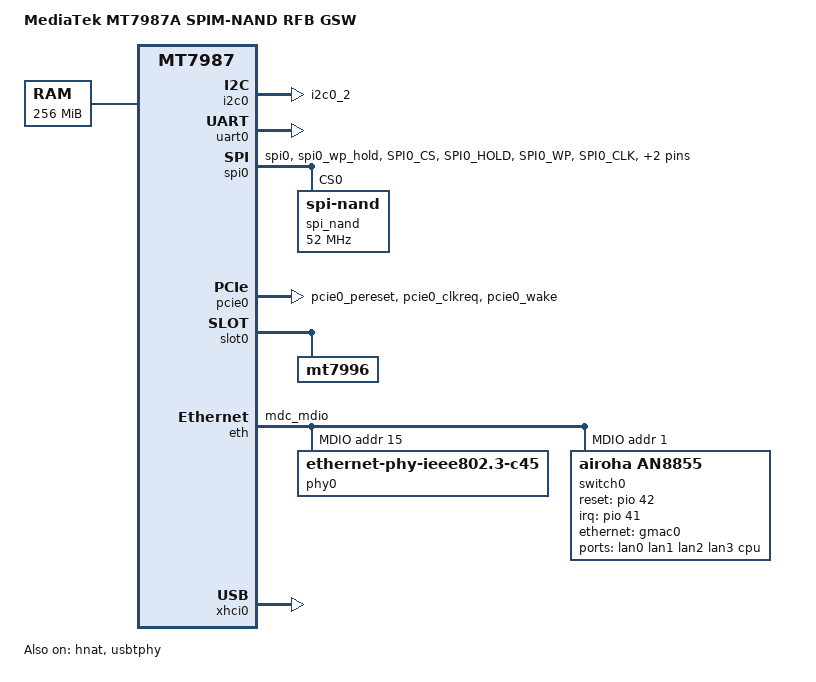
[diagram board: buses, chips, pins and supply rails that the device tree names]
// SPDX-License-Identifier: (GPL-2.0 OR MIT)
/*
 * Copyright (C) 2024 MediaTek Inc.
 * Author: Sam.Shih <sam.shih@mediatek.com>
 */

/dts-v1/;

#include <dt-bindings/gpio/gpio.h>
#include <dt-bindings/pinctrl/mt65xx.h>
#include "mt7987a.dtsi"

/ {
	model = "MediaTek MT7987A SPIM-NAND RFB GSW";
	compatible = "mediatek,mt7987a-spim-snand-gsw",
		     "mediatek,mt7987a", "mediatek,mt7987";

	chosen {
		bootargs = "console=ttyS0,115200n1 loglevel=8 earlycon=uart8250,mmio32,0x11000000 pci=pcie_bus_perf";
	};

	memory {
		reg = <0 0x40000000 0 0x10000000>;
	};

	nmbm_spim_nand {
		compatible = "generic,nmbm";

		#address-cells = <1>;
		#size-cells = <1>;

		lower-mtd-device = <&spi_nand>;
		forced-create;

		partitions {
			compatible = "fixed-partitions";
			#address-cells = <1>;
			#size-cells = <1>;

			partition@0 {
				label = "BL2";
				reg = <0x00000 0x0100000>;
				read-only;
			};

			partition@100000 {
				label = "u-boot-env";
				reg = <0x0100000 0x0080000>;
			};

			factory: partition@180000 {
				label = "Factory";
				reg = <0x180000 0x0400000>;
			};

			partition@580000 {
				label = "FIP";
				reg = <0x580000 0x0200000>;
			};

			partition@780000 {
				label = "ubi";
				reg = <0x780000 0x7080000>;
			};
		};
	};
};

&i2c0 {
	pinctrl-names = "default";
	pinctrl-0 = <&i2c0_pins>;
	status = "okay";
};

&uart0 {
	status = "okay";
};

&spi0 {
	pinctrl-names = "default";
	pinctrl-0 = <&spi0_flash_pins>;
	status = "okay";

	spi_nand: spi_nand@0 {
		#address-cells = <1>;
		#size-cells = <1>;
		compatible = "spi-nand";
		spi-cal-enable;
		spi-cal-mode = "read-data";
		spi-cal-datalen = <7>;
		spi-cal-data = /bits/ 8 <0x53 0x50 0x49 0x4E 0x41 0x4E 0x44>;
		spi-cal-addrlen = <5>;
		spi-cal-addr = /bits/ 32 <0x0 0x0 0x0 0x0 0x0>;
		reg = <0>;
		spi-max-frequency = <52000000>;
		spi-tx-bus-width = <4>;
		spi-rx-bus-width = <4>;
	};
};

&pcie0 {
	pinctrl-names = "default";
	pinctrl-0 = <&pcie0_pins>;
	status = "okay";
};

&slot0 {
	/* slot0 is used for MT76 only */
	mt7996@0,0 {
		device_type = "pci";
		mediatek,mtd-eeprom = <&factory 0x0>;
	};
};

&eth {
	pinctrl-names = "default";
	pinctrl-0 = <&mdio0_pins>;
	status = "okay";

	gmac0: mac@0 {
		compatible = "mediatek,eth-mac";
		reg = <0>;
		mac-type = "gdm";
		phy-mode = "2500base-x";

		fixed-link {
			speed = <2500>;
			full-duplex;
			pause;
		};
	};

	gmac1: mac@1 {
		compatible = "mediatek,eth-mac";
		reg = <1>;
		mac-type = "xgdm";
		phy-mode = "internal";
		phy-handle = <&phy0>;
	};

	mdio: mdio-bus {
		#address-cells = <1>;
		#size-cells = <0>;
		reset-gpios = <&pio 48 1>;
		reset-delay-us = <10000>;

		phy0: phy@0 {
			pinctrl-names = "i2p5gbe-led";
			pinctrl-0 = <&i2p5gbe_led0_pins>;
			compatible = "ethernet-phy-ieee802.3-c45";
			reg = <15>;
			phy-mode = "internal";
		};

		switch0: switch@0 {
			compatible = "airoha,an8855";
			reg = <1>;
			airoha,intr = <6>;
			airoha,extSurge = <1>;
			reset-gpios = <&pio 42 0>;
			interrupt-parent = <&pio>;
			interrupts = <41 IRQ_TYPE_LEVEL_HIGH>;

			ports {
				#address-cells = <1>;
				#size-cells = <0>;

				port@0 {
					reg = <0>;
					label = "lan0";
				};

				port@1 {
					reg = <1>;
					label = "lan1";
				};

				port@2 {
					reg = <2>;
					label = "lan2";
				};

				port@3 {
					reg = <3>;
					label = "lan3";
				};

				port@5 {
					reg = <5>;
					label = "cpu";
					ethernet = <&gmac0>;
					phy-mode = "2500base-x";

					fixed-link {
						speed = <2500>;
						full-duplex;
						pause;
					};
				};
			};
		};
	};
};

&hnat {
	mtketh-wan = "eth1";
	mtketh-lan = "eth0";
	mtketh-max-gmac = <2>;
	mtketh-ppe-num = <1>;
	status = "okay";
};

&usbtphy {
	status = "okay";
};

&xhci0 {
	status = "okay";
};

&pio {
	mmc_pins_default: mmc-pins-default {
		mux {
			function = "flash";
			groups = "emmc_45";
		};
		conf-cmd-dat {
			pins = "SPI0_CLK", "SPI0_MOSI", "SPI0_MISO",
			       "SPI0_CS", "SPI0_HOLD", "SPI0_WP",
			       "SPI1_CLK", "SPI1_MOSI", "SPI1_MISO";
			input-enable;
			drive-strength = <MTK_DRIVE_4mA>;
			mediatek,pull-up-adv = <1>;	/* pull-up 10K */
		};
		conf-clk {
			pins = "SPI1_CS";
			drive-strength = <MTK_DRIVE_6mA>;
			mediatek,pull-down-adv = <2>;	/* pull-down 50K */
		};
		conf-rst {
			pins = "USB_VBUS";
			drive-strength = <MTK_DRIVE_4mA>;
			mediatek,pull-up-adv = <1>;	/* pull-up 10K */
		};
	};

	mmc_pins_uhs: mmc-pins-uhs {
		mux {
			function = "flash";
			groups = "emmc_45";
		};
		conf-cmd-dat {
			pins = "SPI0_CLK", "SPI0_MOSI", "SPI0_MISO",
			       "SPI0_CS", "SPI0_HOLD", "SPI0_WP",
			       "SPI1_CLK", "SPI1_MOSI", "SPI1_MISO";
			input-enable;
			drive-strength = <MTK_DRIVE_4mA>;
			mediatek,pull-up-adv = <1>;	/* pull-up 10K */
		};
		conf-clk {
			pins = "SPI1_CS";
			drive-strength = <MTK_DRIVE_6mA>;
			mediatek,pull-down-adv = <2>;	/* pull-down 50K */
		};
		conf-rst {
			pins = "USB_VBUS";
			drive-strength = <MTK_DRIVE_4mA>;
			mediatek,pull-up-adv = <1>;	/* pull-up 10K */
		};
	};

	sd_pins_default: sd-pins-default {
		mux {
			function = "flash";
			groups = "sd";
		};
		conf-cmd-dat {
			pins = "SPI0_CLK", "SPI0_MOSI", "SPI0_MISO",
			       "SPI0_CS", "SPI1_MISO";
			input-enable;
			drive-strength = <MTK_DRIVE_4mA>;
			mediatek,pull-up-adv = <1>;	/* pull-up 10K */
		};
		conf-clk {
			pins = "SPI1_CS";
			drive-strength = <MTK_DRIVE_6mA>;
			mediatek,pull-down-adv = <2>;	/* pull-down 50K */
		};
	};

	sd_pins_uhs: sd-pins-uhs {
		mux {
			function = "flash";
			groups = "sd";
		};
		conf-cmd-dat {
			pins = "SPI0_CLK", "SPI0_MOSI", "SPI0_MISO",
			       "SPI0_CS", "SPI1_MISO";
			input-enable;
			drive-strength = <MTK_DRIVE_4mA>;
			mediatek,pull-up-adv = <1>;	/* pull-up 10K */
		};
		conf-clk {
			pins = "SPI1_CS";
			drive-strength = <MTK_DRIVE_6mA>;
			mediatek,pull-down-adv = <2>;	/* pull-down 50K */
		};
	};

	mdio0_pins: mdio0-pins {
		mux {
			function = "eth";
			groups = "mdc_mdio";
		};

		conf {
			groups = "mdc_mdio";
			drive-strength = <MTK_DRIVE_6mA>;
		};
	};

	i2p5gbe_led0_pins: i2p5gbe0-pins {
		mux {
			function = "led";
			groups = "2p5gbe_led0";
		};
	};

	i2p5gbe_led1_0_pins: i2p5gbe1-pins {
		mux {
			function = "led";
			groups = "2p5gbe_led1_0";
		};
	};

	i2p5gbe_led1_1_pins: i2p5gbe2-pins {
		mux {
			function = "led";
			groups = "2p5gbe_led1_1";
		};
	};

	i2c0_pins: i2c0-pins-g2 {
		mux {
			function = "i2c";
			groups = "i2c0_2";
		};
	};

	pcie0_pins: pcie0-pins {
		mux {
			function = "pcie";
			groups = "pcie0_pereset", "pcie0_clkreq",
				 "pcie0_wake";
		};
	};

	pcie1_pins: pcie1-pins {
		mux {
			function = "pcie";
			groups = "pcie1_pereset", "pcie1_clkreq",
				 "pcie1_wake";
		};
	};

	spi0_flash_pins: spi0-pins {
		mux {
			function = "spi";
			groups = "spi0", "spi0_wp_hold";
		};

		conf-pu {
			pins = "SPI0_CS", "SPI0_HOLD", "SPI0_WP";
			drive-strength = <MTK_DRIVE_4mA>;
			mediatek,pull-up-adv = <3>;	/* pull-up 75k */
		};

		conf-pd {
			pins = "SPI0_CLK", "SPI0_MOSI", "SPI0_MISO";
			drive-strength = <MTK_DRIVE_4mA>;
			mediatek,pull-down-adv = <3>;	/* pull-down 75k */
		};
	};

	spic_pins: spi1-pins {
		mux {
			function = "spi";
			groups = "spi1";
		};
	};

	spi2_flash_pins: spi2-pins {
		mux {
			function = "spi";
			groups = "spi2", "spi2_wp_hold";
		};
	};

	i2c1_pins: i2c1-pins {
		mux {
			function = "i2c";
			groups = "i2c0_2";
		};
	};

	i2s_pins: i2s-pins {
		mux {
			function = "i2s";
			groups = "pcm0_1";
		};
	};

	pcm_pins: pcm-pins {
		mux {
			function = "pcm";
			groups = "pcm0_1";
		};
	};

	pwm_pins: pwm-pins {
		mux {
			/*
			 * - pwm0   : PWM0@PIN13
			 * - pwm1_0 : PWM1@PIN7  (share with JTAG)
			 *   pwm1_1 : PWM1@PIN43 (share with i2c0)
			 * - pwm2_0 : PWM2@PIN12 (share with PCM)
			 *   pwm2_1 : PWM2@PIN44 (share with i2c0)
			 */
			function = "pwm";
			groups = "pwm0";
		};
	};

	pwm_rgb_pins: pwm-rgb-pins {
		mux {
			/*
			 * - pwm0   : PWM0@PIN13
			 * - pwm1_0 : PWM1@PIN7  (share with JTAG)
			 *   pwm1_1 : PWM1@PIN43 (share with i2c0)
			 * - pwm2_0 : PWM2@PIN12 (share with PCM)
			 *   pwm2_1 : PWM2@PIN44 (share with i2c0)
			 */
			function = "pwm";
			groups = "pwm0", "pwm1_0", "pwm2_0";
		};
	};

	uart1_pins: uart1-pins {
		mux {
			function = "uart";
			groups = "uart1_2";
		};
	};
};
